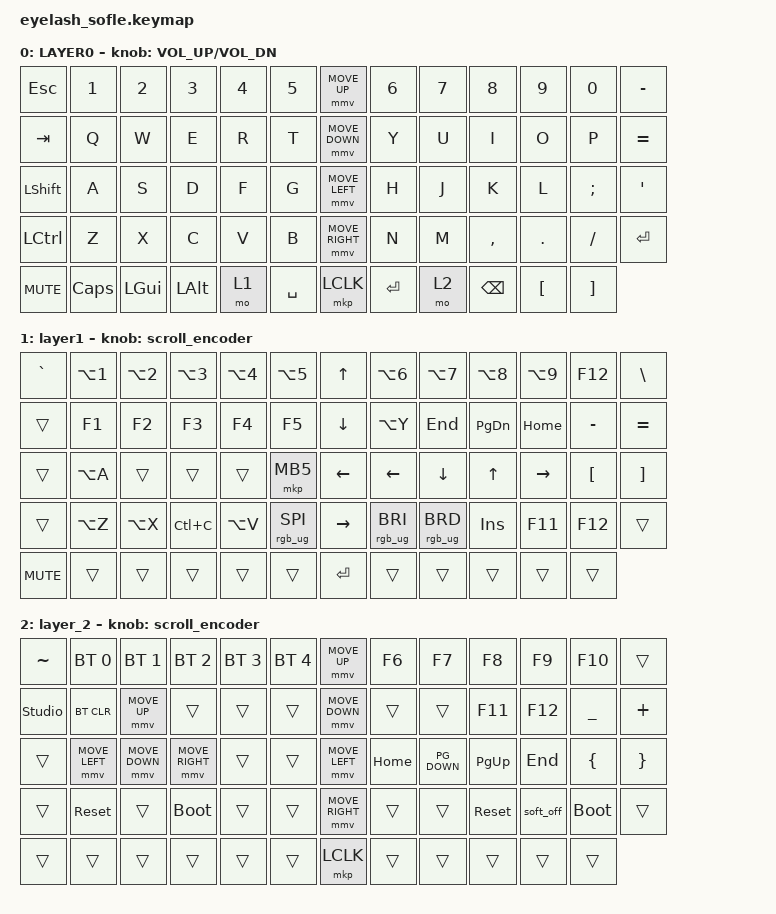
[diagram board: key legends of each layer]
#include <behaviors.dtsi>
#include <dt-bindings/zmk/bt.h>
#include <dt-bindings/zmk/keys.h>
#include <dt-bindings/zmk/mouse.h>
#include <dt-bindings/zmk/outputs.h>
#include <dt-bindings/zmk/rgb.h>

#include <input/processors.dtsi>

/*

   &mmv_input_listener {
       input-processors = <&zip_xy_scaler 2 1>;
   };

   &msc_input_listener {
       input-processors = <&zip_xy_scaler 2 1>;
   };

 */

#define ZMK_MOUSE_DEFAULT_MOVE_VAL 1200  // 600
#define ZMK_MOUSE_DEFAULT_SCRL_VAL 20    // 10


/ {
    behaviors {
        mmv {
            acceleration-exponent = <1>;      // 1
            time-to-max-speed-ms = <900>;    // 40
            delay-ms = <0>;                   // 0
        };

        msc {
            acceleration-exponent = <1>;      // 0
            time-to-max-speed-ms = <400>;      // 500
            delay-ms = <0>;                   //   10
        };
    };

    scroll_encoder: scroll_encoder {
        compatible = "zmk,behavior-sensor-rotate";
        #sensor-binding-cells = <0>;
        bindings = <&msc SCRL_DOWN>, <&msc SCRL_UP>;

        tap-ms = <30>;
    };

    keymap {
        compatible = "zmk,keymap";

        layer0 {
            bindings = <
&kp ESC     &kp N1     &kp N2        &kp N3        &kp N4  &kp N5    &mmv MOVE_UP     &kp N6     &kp N7     &kp N8     &kp N9           &kp N0      &kp MINUS
&kp TAB     &kp Q      &kp W         &kp E         &kp R   &kp T     &mmv MOVE_DOWN   &kp Y      &kp U      &kp I      &kp O            &kp P       &kp EQUAL
&kp LSHFT   &kp A      &kp S         &kp D         &kp F   &kp G     &mmv MOVE_LEFT   &kp H      &kp J      &kp K      &kp L            &kp SEMI    &kp APOS
&kp LCTRL   &kp Z      &kp X         &kp C         &kp V   &kp B     &mmv MOVE_RIGHT  &kp N      &kp M      &kp COMMA  &kp DOT          &kp FSLH    &kp ENTER
&kp C_MUTE  &kp CAPS   &kp LEFT_GUI  &kp LEFT_ALT  &mo 1 &kp SPACE   &mkp LCLK        &kp ENTER  &mo 2  &kp BACKSPACE    &kp LEFT_BRACKET &kp RIGHT_BRACKET
            >;

            sensor-bindings = <&inc_dec_kp C_VOLUME_UP C_VOL_DN>;
            display-name = "LAYER0";
        };

        layer_1 {
            bindings = <
&kp GRAVE   &kp LA(N1)       &kp LA(N2)      &kp LA(N3)       &kp LA(N4)       &kp LA(N5)        &kp UP_ARROW     &kp LA(N6)       &kp LA(N7)       &kp LA(N8)  &kp LA(N9) &kp F12           &kp BSLH
&trans      &kp F1           &kp F2          &kp F3           &kp F4           &kp F5            &kp DOWN_ARROW   &kp LA(Y)        &kp END          &kp PG_DN   &kp HOME   &kp MINUS         &kp EQUAL
&trans      &kp LA(A)        &trans          &trans           &trans           &mkp MB5          &kp LEFT_ARROW   &kp LEFT         &kp DOWN           &kp UP    &kp RIGHT  &kp LEFT_BRACKET  &kp RIGHT_BRACKET
&trans      &kp LA(Z)        &kp LA(X)       &kp LC(C)        &kp LA(V)        &rgb_ug RGB_SPI   &kp RIGHT_ARROW  &rgb_ug RGB_BRI  &rgb_ug RGB_BRD  &kp INSERT  &kp F11    &kp F12           &trans
&kp C_MUTE  &trans           &trans          &trans           &trans           &trans            &kp ENTER        &trans           &trans           &trans      &trans     &trans
            >;

            display-name = "layer1";
            sensor-bindings = <&scroll_encoder>;
        };

        layer_2 {
            bindings = <
&kp TILDE  &bt BT_SEL 0  &bt BT_SEL 1    &bt BT_SEL 2  &bt BT_SEL 3  &bt BT_SEL 4    &mmv MOVE_UP     &kp F6  &kp F7  &kp F8      &kp F9     &kp F10      &trans
&studio_unlock      &bt BT_CLR    &mmv MOVE_UP  &trans        &trans        &trans          &mmv MOVE_DOWN   &trans  &trans  &kp F11     &kp F12    &kp UNDER    &kp PLUS
&trans     &mmv MOVE_LEFT  &mmv MOVE_DOWN    &mmv MOVE_RIGHT        &trans        &trans          &mmv MOVE_LEFT   &kp HOME  &kp PG_DOWN  &kp PG_UP    &kp END     &kp LBRC     &kp RBRC
&trans     &sys_reset    &trans          &bootloader   &trans        &trans          &mmv MOVE_RIGHT  &trans  &trans  &sys_reset  &soft_off  &bootloader  &trans
&trans     &trans        &trans          &trans        &trans        &trans          &mkp LCLK        &trans  &trans  &trans      &trans     &trans
            >;

            sensor-bindings = <&scroll_encoder>;
        };
    };
};
